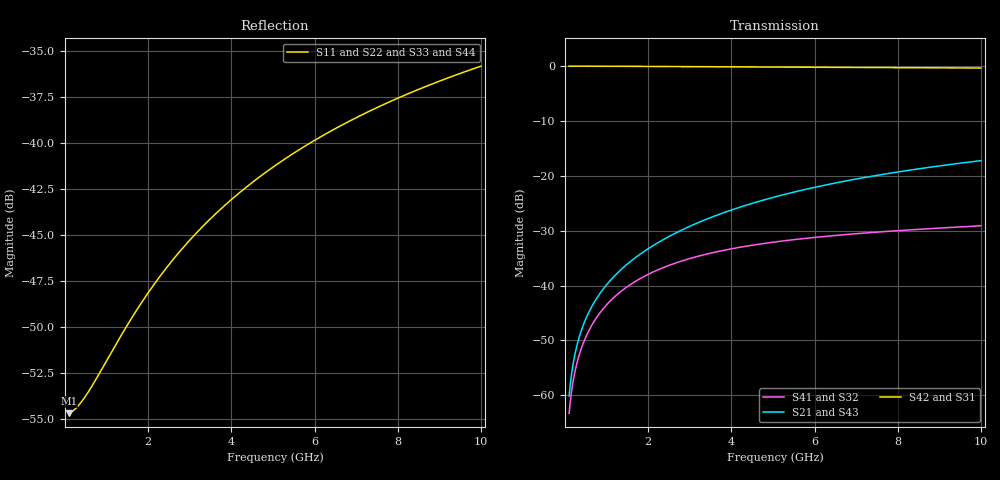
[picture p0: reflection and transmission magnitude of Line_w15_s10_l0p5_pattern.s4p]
! TOUCHSTONE file generated by CST MICROWAVE STUDIO
! Date and time: Wed Oct 22 17:47:01 2014
! Project name: Untitled_0.cst
# GHZ S MA R 50
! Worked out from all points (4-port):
!   1001 points, 100 MHz to 10 GHz, reference 50 ohm
!   strongest paths, dB at 100 MHz, 2.575 GHz, 5.05 GHz, 7.525 GHz, 10 GHz:
!     S42: 0.0, -0.1, -0.2, -0.3, -0.4
!     S31: 0.0, -0.1, -0.2, -0.3, -0.4
!     S21: -60.1, -30.8, -23.8, -19.9, -17.2
!     S43: -60.1, -30.8, -23.8, -19.9, -17.2
!     S41: -63.3, -36.1, -32.1, -30.3, -29.1
!     S32: -63.3, -36.1, -32.1, -30.3, -29.1
!   lowest |S11| = -54.7 dB at 100 MHz (marker M1), VSWR 1.00, Z = 50.2 - j0.0205 ohm
!   |S11| at or under -10 dB: start of sweep to end of sweep
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0.1  0.00184 -6.4  0.0009831 90.5  0.9981 -0.2  0.0006841 -91.2
     0.0009831 90.5  0.00184 -6.2  0.0006841 -91.2  0.9981 -0.2
     0.9981 -0.2  0.0006841 -91.2  0.00184 -6.4  0.0009831 90.5
     0.0006841 -91.2  0.9981 -0.2  0.0009831 90.5  0.00184 -6.2
0.3376  0.00194 -21.6  0.003332 91.6  0.9979 -0.8  0.002295 -93.9
        0.003332 91.6  0.001934 -21.1  0.002295 -93.9  0.9979 -0.8
        0.9979 -0.8  0.002295 -93.9  0.00194 -21.6  0.003332 91.6
        0.002295 -93.9  0.9979 -0.8  0.003332 91.6  0.001935 -21.1
0.7138  0.002244 -45.3  0.007141 93.1  0.9972 -1.6  0.0048 -97.9
        0.007141 93.1  0.002219 -44.5  0.0048 -97.9  0.9972 -1.6
        0.9972 -1.6  0.0048 -97.9  0.002244 -45.3  0.007141 93.1
        0.0048 -97.9  0.9972 -1.6  0.007141 93.1  0.00222 -44.5
1.3276  0.002964 -78.0  0.01374 94.9  0.9954 -3.0  0.008719 -104.2
        0.01374 94.9  0.002898 -77.5  0.008719 -104.2  0.9954 -3.0
        0.9954 -3.0  0.008719 -104.2  0.002964 -78.0  0.01374 94.9
        0.008719 -104.2  0.9954 -3.0  0.01374 94.9  0.002899 -77.5
2.1988  0.004208 -112.6  0.02411 95.9  0.9921 -4.9  0.01371 -112.5
        0.02411 95.9  0.004095 -112.9  0.01371 -112.5  0.9921 -4.9
        0.9921 -4.9  0.01371 -112.5  0.00421 -112.6  0.02411 95.9
        0.01371 -112.5  0.9921 -4.9  0.02411 95.9  0.004096 -112.8
5.2381  0.008963 176.9  0.06705 91.0  0.9785 -11.0  0.02548 -133.1
        0.06705 91.0  0.008893 175.5  0.02547 -133.1  0.9786 -11.0
        0.9785 -11.0  0.02547 -133.1  0.008983 177.0  0.06704 91.0
        0.02548 -133.1  0.9786 -11.0  0.06704 91.0  0.008878 175.7
10  0.01616 124.3  0.1375 78.7  0.9603 -19.9  0.03501 -149.8
    0.1375 78.7  0.01635 123.2  0.035 -149.8  0.9604 -19.9
    0.9603 -19.9  0.035 -149.8  0.01622 124.6  0.1374 78.7
    0.03501 -149.8  0.9604 -19.9  0.1374 78.7  0.01629 123.4
